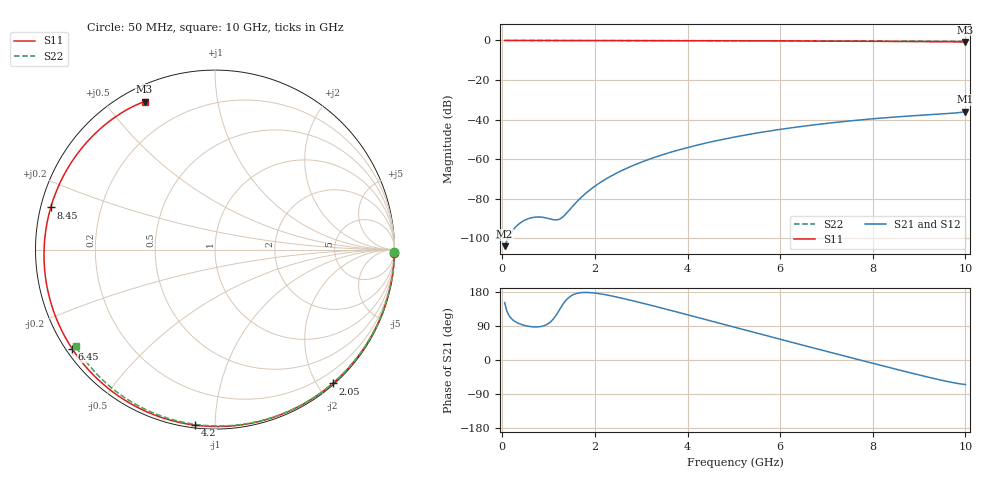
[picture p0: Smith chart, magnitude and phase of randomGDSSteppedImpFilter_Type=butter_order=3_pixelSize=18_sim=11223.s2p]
! freq	dB(S11)	phase(S11)	dB(S12)	phase(S12)
!  dB(S21)	phase(S21)	dB(S22)	phase(S22)
!S-par simulation data
#  GHz  S  DB  R 50
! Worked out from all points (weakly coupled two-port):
!   200 points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, 50 MHz to 10 GHz, reference 50 ohm
!   highest |S21| = -35.95 dB at 10 GHz (marker M1); lowest = -104.1 dB at 50 MHz (marker M2)
!   lowest |S11| = -0.8 dB at 10 GHz (marker M3), VSWR 22.18, Z = 3.15 + j31.5 ohm
!   |S11| at or under -10 dB: nowhere
!   |S22| runs from -0.5 to 0.0 dB; largest |S21 - S12| = 0
!   S11 on the Smith chart (normalised r, x): 50 MHz: 0, -94; 2.05 GHz: 0.02, -2.21; 4.2 GHz: 0.01, -0.89; 6.45 GHz: 0.02, -0.31; 8.45 GHz: 0.03, +0.13; 10 GHz: 0.06, +0.63
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0.05  -0.00 -1.2  -104.05 151.5  -104.05 151.5  -0.00 -0.8
0.8  -0.02 -19.3  -89.29 87.8  -89.29 87.8  -0.02 -13.4
1.65  -0.05 -39.4  -80.60 176.9  -80.60 176.9  -0.03 -27.4
1.75  -0.05 -41.7  -78.37 178.2  -78.37 178.2  -0.04 -29.0
2.05  -0.06 -48.7  -72.86 175.8  -72.86 175.8  -0.04 -33.9
2.35  -0.07 -55.5  -68.56 169.3  -68.56 169.3  -0.05 -38.7
2.65  -0.08 -62.4  -65.03 161.2  -65.03 161.2  -0.06 -43.4
3  -0.09 -70.2  -61.58 150.9  -61.58 150.9  -0.06 -48.9
3.4  -0.10 -79.1  -58.27 138.5  -58.27 138.5  -0.07 -55.1
4.2  -0.14 -96.5  -52.99 112.9  -52.99 112.9  -0.09 -67.2
5.05  -0.18 -114.8  -48.70 85.4  -48.70 85.4  -0.12 -79.6
5.75  -0.22 -129.9  -45.88 62.8  -45.88 62.8  -0.15 -89.5
6.45  -0.28 -145.2  -43.53 40.4  -43.53 40.4  -0.18 -99.1
6.7  -0.30 -150.9  -42.78 32.4  -42.78 32.4  -0.20 -102.4
7.55  -0.38 -170.9  -40.59 5.4  -40.59 5.4  -0.25 -113.7
7.95  -0.43 179.0  -39.72 -7.2  -39.72 -7.2  -0.28 -118.9
8.35  -0.48 168.4  -38.95 -19.7  -38.95 -19.7  -0.32 -124.1
8.45  -0.49 165.6  -38.77 -22.8  -38.77 -22.8  -0.33 -125.4
8.85  -0.55 154.1  -38.12 -35.0  -38.12 -35.0  -0.36 -130.5
9.25  -0.61 141.7  -37.54 -46.9  -37.54 -46.9  -0.41 -135.7
9.65  -0.67 128.3  -36.95 -57.7  -36.95 -57.7  -0.45 -140.8
10  -0.78 115.5  -35.95 -64.8  -35.95 -64.8  -0.49 -145.3
